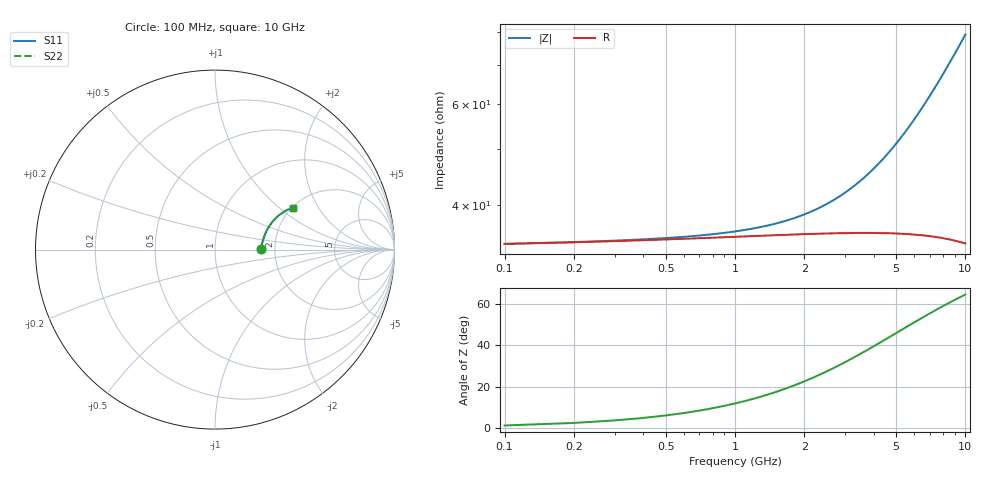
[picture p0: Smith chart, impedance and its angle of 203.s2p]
# Hz S RI R 50.00
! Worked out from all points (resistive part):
!   100 points, 100 MHz to 10 GHz, reference 50 ohm
!   read as one part in series: R = 34.2 ohm at 100 MHz
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1e8  0.2548 0.00337  0.7452 -0.00473  0.7452 -0.00473  0.2548 0.00337
2e8  0.2561 0.00671  0.7439 -0.00944  0.7439 -0.00944  0.2561 0.00671
4e8  0.2579 0.0133  0.742 -0.0188  0.742 -0.0188  0.2579 0.0133
8e8  0.261 0.0265  0.7389 -0.0374  0.7389 -0.0374  0.261 0.0265
1.1e9  0.2632 0.0362  0.7366 -0.0512  0.7366 -0.0512  0.2632 0.0362
1.4e9  0.2657 0.0458  0.7341 -0.0649  0.7341 -0.0649  0.2657 0.0458
1.8e9  0.2693 0.0585  0.7304 -0.083  0.7304 -0.083  0.2693 0.0585
2.1e9  0.2723 0.0678  0.7273 -0.0965  0.7273 -0.0965  0.2723 0.0678
2.5e9  0.2767 0.0801  0.7226 -0.1142  0.7226 -0.1142  0.2767 0.0801
2.9e9  0.2816 0.092  0.7175 -0.1316  0.7175 -0.1316  0.2816 0.092
3.4e9  0.2885 0.1065  0.7103 -0.1529  0.7103 -0.1529  0.2885 0.1065
4.2e9  0.3011 0.1286  0.6971 -0.1859  0.6971 -0.1859  0.3011 0.1286
4.6e9  0.308 0.139  0.6897 -0.2019  0.6897 -0.2019  0.308 0.139
5.1e9  0.3173 0.1515  0.6799 -0.2212  0.6799 -0.2212  0.3173 0.1515
5.9e9  0.3335 0.1699  0.6628 -0.2507  0.6628 -0.2507  0.3335 0.1699
6.7e9  0.351 0.1865  0.6442 -0.2783  0.6442 -0.2783  0.351 0.1865
7.2e9  0.3625 0.1958  0.6319 -0.2946  0.6319 -0.2946  0.3625 0.1958
7.6e9  0.372 0.2027  0.6218 -0.307  0.6218 -0.307  0.372 0.2027
8e9  0.3817 0.2091  0.6114 -0.319  0.6114 -0.319  0.3817 0.2091
8.4e9  0.3915 0.215  0.6009 -0.3305  0.6009 -0.3305  0.3915 0.215
9.2e9  0.4116 0.2253  0.5792 -0.3519  0.5792 -0.3519  0.4116 0.2253
1e10  0.4321 0.2336  0.557 -0.3714  0.557 -0.3714  0.4321 0.2336
